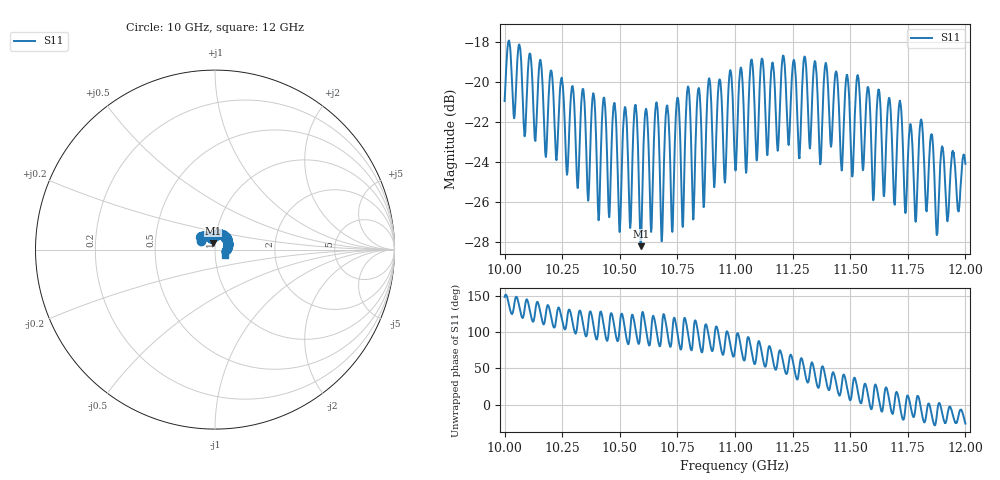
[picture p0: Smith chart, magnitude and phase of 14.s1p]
[Version] 2.0
! Rohde & Schwarz Vector Network Analyzer
! Rohde-Schwarz,ZNL20-2Port,1323001220200009,1.71.1.10-23.02.1.238
! Port Assignments:
! Nominal Port -> Actual Test Port
!  1 -> 1
! Created: GMT 2024-09-04 12:02:08
# Hz S DB R 50
[Number of Ports] 1
! freq[Hz]  S11[mag dB]  S11[ang]
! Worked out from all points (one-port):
!   2001 points, 10 GHz to 12 GHz, reference 50 ohm
!   lowest |S11| = -28.2 dB at 10.59 GHz (marker M1), VSWR 1.08, Z = 48.7 + j3.62 ohm
!   |S11| at or under -10 dB: start of sweep to end of sweep
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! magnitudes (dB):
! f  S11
! 10 GHz  -20.9
! 10.25 GHz  -19.9
! 10.36 GHz  -25.9
! 10.39 GHz  -20.6
! 10.41 GHz  -26.9
! 10.48 GHz  -21.1
! 10.5 GHz  -27.4
! 10.57 GHz  -21.1
! 10.59 GHz  -28.2
! 10.61 GHz  -21.4
! 10.64 GHz  -27.5
! 10.66 GHz  -21.1
! 10.68 GHz  -27.9
! 10.75 GHz  -20.8
! 10.77 GHz  -27.2
! 10.8 GHz  -20.2
! 10.82 GHz  -26.8
! 10.84 GHz  -20.3
! 10.86 GHz  -26.2
! 10.89 GHz  -19.8
! 11 GHz  -24.2
! 11.03 GHz  -19.3
! 11.05 GHz  -24.5
! 11.07 GHz  -18.9
! 11.25 GHz  -19.2
! 11.5 GHz  -22.2
! 11.75 GHz  -24.0
! 12 GHz  -24.1
